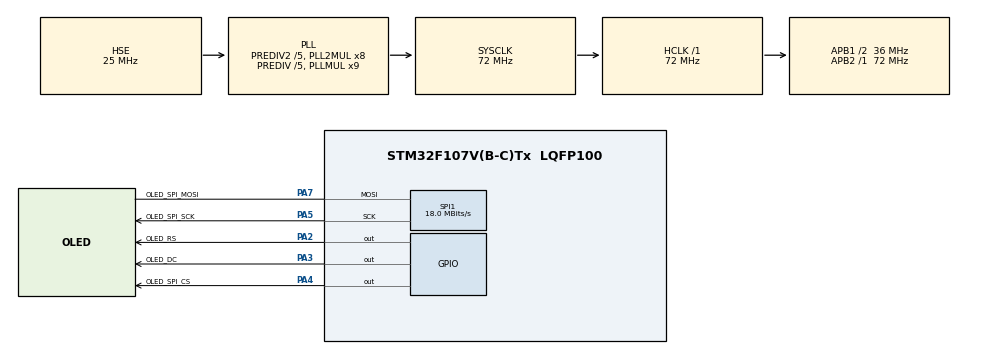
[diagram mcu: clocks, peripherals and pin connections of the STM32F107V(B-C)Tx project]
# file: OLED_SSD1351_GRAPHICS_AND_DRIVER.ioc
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Mcu.Family=STM32F1
Mcu.Name=STM32F107V(B-C)Tx
Mcu.Package=LQFP100
NVIC.PriorityGroup=NVIC_PRIORITYGROUP_4
OSC_IN.Mode=HSE-External-Oscillator
OSC_IN.Signal=RCC_OSC_IN
OSC_OUT.Mode=HSE-External-Oscillator
OSC_OUT.Signal=RCC_OSC_OUT
PA13.Mode=Serial_Wire
PA13.Signal=SYS_JTMS-SWDIO
PA14.Mode=Serial_Wire
PA14.Signal=SYS_JTCK-SWCLK
PA2.GPIO_Label=OLED_RS
PA2.Signal=GPIO_Output
PA3.GPIO_Label=OLED_DC
PA3.Signal=GPIO_Output
PA4.GPIO_Label=OLED_SPI_CS
PA4.Signal=GPIO_Output
PA5.GPIO_Label=OLED_SPI_SCK
PA5.Mode=Simplex_Bidirectional_Master
PA5.Signal=SPI1_SCK
PA7.GPIO_Label=OLED_SPI_MOSI
PA7.Mode=Simplex_Bidirectional_Master
PA7.Signal=SPI1_MOSI
PC14-OSC32_IN.Mode=LSE-External-Oscillator
PC14-OSC32_IN.Signal=RCC_OSC32_IN
PC15-OSC32_OUT.Mode=LSE-External-Oscillator
PC15-OSC32_OUT.Signal=RCC_OSC32_OUT
ProjectManager.HeapSize=0x200
ProjectManager.StackSize=0x400
ProjectManager.TargetToolchain=SW4STM32
RCC.AHBFreq_Value=72000000
RCC.APB1CLKDivider=RCC_HCLK_DIV2
RCC.APB1Freq_Value=36000000
RCC.APB1TimFreq_Value=72000000
RCC.APB2Freq_Value=72000000
RCC.APB2TimFreq_Value=72000000
RCC.HCLKFreq_Value=72000000
RCC.HSEDivPLL=RCC_HSE_PREDIV_DIV5
RCC.HSE_VALUE=25000000
RCC.PLLMUL=RCC_PLL_MUL9
RCC.PLLSourceVirtual=RCC_PLLSOURCE_HSE
RCC.Prediv1Source=RCC_PREDIV1_SOURCE_PLL2
RCC.Prediv2=RCC_HSE_PREDIV2_DIV5
RCC.SYSCLKFreq_VALUE=72000000
RCC.SYSCLKSource=RCC_SYSCLKSOURCE_PLLCLK
RCC.USBFreq_Value=48000000
SPI1.BaudRatePrescaler=SPI_BAUDRATEPRESCALER_4
SPI1.CalculateBaudRate=18.0 MBits/s
SPI1.Direction=SPI_DIRECTION_1LINE
SPI1.Mode=SPI_MODE_MASTER
SPI1.VirtualType=VM_MASTER
board=custom

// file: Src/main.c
/* USER CODE BEGIN Header */
/**
  ******************************************************************************
  * @file           : main.c
  * @brief          : Main program body
  ******************************************************************************
  * @attention
  *
  * <h2><center>&copy; Copyright (c) 2020 STMicroelectronics.
  * All rights reserved.</center></h2>
  *
  * This software component is licensed by ST under BSD 3-Clause license,
  * the "License"; You may not use this file except in compliance with the
  * License. You may obtain a copy of the License at:
  *                        opensource.org/licenses/BSD-3-Clause
  *
  ******************************************************************************
  */
/* USER CODE END Header */

#include "main.h"
#include "spi.h"
#include "gpio.h"

/* USER CODE BEGIN Includes */

#include "oled_lib_tbz.h"
#include "gfx_internal.h"

/* USER CODE END Includes */

/* USER CODE BEGIN PD */

#define OLED_RESET  (1<<2)
#define OLED_DC     (1<<3)
#define OLED_CS     (1<<4)

/* USER CODE END PD */

void SystemClock_Config(void);

/* USER CODE BEGIN 0 */
void delay_ms(uint32_t period)
{
    HAL_Delay(period);
}

void pin_cs(uint8_t pinstate)
{
    HAL_GPIO_WritePin(GPIOA, OLED_CS, pinstate);
}

void pin_dc(uint8_t pinstate)
{
    HAL_GPIO_WritePin(GPIOA, OLED_DC, pinstate);
}

void pin_rs(uint8_t pinstate)
{
    HAL_GPIO_WritePin(GPIOA, OLED_RESET, pinstate);
}

void transmit_data(uint8_t *data, uint32_t len)
{
    HAL_SPI_Transmit(&hspi1, data, len, 1000);
}

/* USER CODE END 0 */

int main(void)
{
  /* USER CODE BEGIN 1 */

    s_ssd1351 function_pointers;

    function_pointers.pin_cs = pin_cs;
    function_pointers.pin_rs = pin_rs;
    function_pointers.pin_dc = pin_dc;
    function_pointers.transmit_data = transmit_data;
    function_pointers.delay = delay_ms;

  /* USER CODE END 1 */

  /* MCU Configuration--------------------------------------------------------*/

  /* Reset of all peripherals, Initializes the Flash interface and the Systick. */
  HAL_Init();

  /* Configure the system clock */
  SystemClock_Config();

  /* Initialize all configured peripherals */
  MX_GPIO_Init();
  MX_SPI1_Init();
  /* USER CODE BEGIN 2 */

  oled_init(&function_pointers, DISPLAY_ORIENTATION_UP);

//  uint8_t direction = 0;
//
//  uint8_t ctr0 = 20;

  gfx_std_screen_clear(colors.red);

  gfx_std_draw_circle(0, 63, 10, colors.green, 1);

//  gfx_std_draw_circle_filled(63, 63, 10, colors.red, 1);

  /* USER CODE END 2 */

  /* Infinite loop */
    while (1)
    {

//        if(direction)
//        {
//            if(ctr0 < 108)
//            {
//                gfx_std_draw_circle_filled(ctr0 + 1, 10, 10, colors.black, 0);
//                gfx_std_draw_circle_filled(ctr0 + 1, 35, 10, colors.black, 0);
//                gfx_std_draw_circle_filled(ctr0 + 1, 60, 10, colors.black, 0);
//                gfx_std_draw_circle_filled(ctr0 + 1, 85, 10, colors.black, 0);
//            }
//            ctr0 -= 5;
//            gfx_std_draw_circle_filled(ctr0, 10, 10, colors.red, 0);
//            gfx_std_draw_circle_filled(ctr0, 35, 10, colors.red, 0);
//            gfx_std_draw_circle_filled(ctr0, 60, 10, colors.red, 0);
//            gfx_std_draw_circle_filled(ctr0, 85, 10, colors.red, 1);
//
//
//            if(ctr0 <= 25) direction = 0;
//        }
//        else
//        {
//            if(ctr0 > 20)
//            {
//                gfx_std_draw_circle_filled(ctr0 - 1, 10, 10, colors.black, 0);
//                gfx_std_draw_circle_filled(ctr0 - 1, 35, 10, colors.black, 0);
//                gfx_std_draw_circle_filled(ctr0 - 1, 60, 10, colors.black, 0);
//                gfx_std_draw_circle_filled(ctr0 - 1, 85, 10, colors.black, 0);
//            }
//            ctr0 += 5;
//            gfx_std_draw_circle_filled(ctr0, 10, 10, colors.red, 0);
//            gfx_std_draw_circle_filled(ctr0, 35, 10, colors.red, 0);
//            gfx_std_draw_circle_filled(ctr0, 60, 10, colors.red, 0);
//            gfx_std_draw_circle_filled(ctr0, 85, 10, colors.red, 1);
//
//
//            if(ctr0 >= 103) direction = 1;
//        }

//        gfx_std_draw_circle_filled(63, 63, 60, colors.red, 1);
//
//        gfx_std_draw_circle_filled(63, 63, 60, colors.yellow, 1);
//
//        gfx_std_draw_circle_filled(63, 63, 60, colors.green, 1);
//
//        gfx_std_draw_circle_filled(63, 63, 60, colors.cyan, 1);
//
//        gfx_std_draw_circle_filled(63, 63, 60, colors.blue, 1);
//
//        gfx_std_draw_circle_filled(63, 63, 60, colors.magenta, 1);

//        for(ctr0 = 1; ctr0 < 60; ctr0++)
//        {
//            gfx_std_draw_circle_filled(63, 63, ctr0, colors.red, 1);
//        }
//        for(ctr0 = 1; ctr0 < 60; ctr0++)
//        {
//            gfx_std_draw_circle_filled(63, 63, ctr0, colors.yellow, 1);
//        }
//        for(ctr0 = 1; ctr0 < 60; ctr0++)
//        {
//            gfx_std_draw_circle_filled(63, 63, ctr0, colors.green, 1);
//        }
//        for(ctr0 = 1; ctr0 < 60; ctr0++)
//        {
//            gfx_std_draw_circle_filled(63, 63, ctr0, colors.cyan, 1);
//        }
//        for(ctr0 = 1; ctr0 < 60; ctr0++)
//        {
//            gfx_std_draw_circle_filled(63, 63, ctr0, colors.blue, 1);
//        }
//        for(ctr0 = 1; ctr0 < 60; ctr0++)
//        {
//            gfx_std_draw_circle_filled(63, 63, ctr0, colors.magenta, 1);
//        }
    }
}

void SystemClock_Config(void)
{
  RCC_OscInitTypeDef RCC_OscInitStruct = {0};
  RCC_ClkInitTypeDef RCC_ClkInitStruct = {0};

  /** Initializes the CPU, AHB and APB busses clocks
  */
  RCC_OscInitStruct.OscillatorType = RCC_OSCILLATORTYPE_HSE;
  RCC_OscInitStruct.HSEState = RCC_HSE_ON;
  RCC_OscInitStruct.HSEPredivValue = RCC_HSE_PREDIV_DIV5;
  RCC_OscInitStruct.HSIState = RCC_HSI_ON;
  RCC_OscInitStruct.Prediv1Source = RCC_PREDIV1_SOURCE_PLL2;
  RCC_OscInitStruct.PLL.PLLState = RCC_PLL_ON;
  RCC_OscInitStruct.PLL.PLLSource = RCC_PLLSOURCE_HSE;
  RCC_OscInitStruct.PLL.PLLMUL = RCC_PLL_MUL9;
  RCC_OscInitStruct.PLL2.PLL2State = RCC_PLL2_ON;
  RCC_OscInitStruct.PLL2.PLL2MUL = RCC_PLL2_MUL8;
  RCC_OscInitStruct.PLL2.HSEPrediv2Value = RCC_HSE_PREDIV2_DIV5;
  if (HAL_RCC_OscConfig(&RCC_OscInitStruct) != HAL_OK)
  {
    Error_Handler();
  }
  /** Initializes the CPU, AHB and APB busses clocks
  */
  RCC_ClkInitStruct.ClockType = RCC_CLOCKTYPE_HCLK|RCC_CLOCKTYPE_SYSCLK
                              |RCC_CLOCKTYPE_PCLK1|RCC_CLOCKTYPE_PCLK2;
  RCC_ClkInitStruct.SYSCLKSource = RCC_SYSCLKSOURCE_PLLCLK;
  RCC_ClkInitStruct.AHBCLKDivider = RCC_SYSCLK_DIV1;
  RCC_ClkInitStruct.APB1CLKDivider = RCC_HCLK_DIV2;
  RCC_ClkInitStruct.APB2CLKDivider = RCC_HCLK_DIV1;

  if (HAL_RCC_ClockConfig(&RCC_ClkInitStruct, FLASH_LATENCY_2) != HAL_OK)
  {
    Error_Handler();
  }
  /** Configure the Systick interrupt time
  */
  __HAL_RCC_PLLI2S_ENABLE();
}

void Error_Handler(void)
{
}

/************************ (C) COPYRIGHT STMicroelectronics *****END OF FILE****/
